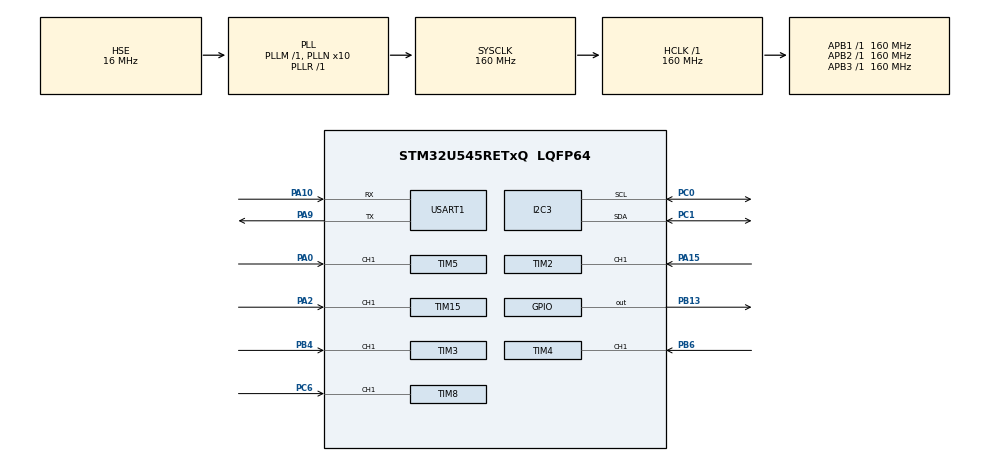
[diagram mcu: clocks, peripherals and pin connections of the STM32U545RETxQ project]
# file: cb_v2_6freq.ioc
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CORTEX_M33_NS.userName=CORTEX_M33
GPDMA1.CIRCULARMODE_GPDMACH0=ENABLE
GPDMA1.CIRCULARMODE_GPDMACH1=ENABLE
GPDMA1.CIRCULARMODE_GPDMACH2=ENABLE
GPDMA1.CIRCULARMODE_GPDMACH3=ENABLE
GPDMA1.CIRCULARMODE_GPDMACH4=ENABLE
GPDMA1.CIRCULARMODE_GPDMACH5=ENABLE
GPDMA1.DESTDATAWIDTH_GPDMACH0=DMA_DEST_DATAWIDTH_HALFWORD
GPDMA1.DESTDATAWIDTH_GPDMACH1=DMA_DEST_DATAWIDTH_HALFWORD
GPDMA1.DESTDATAWIDTH_GPDMACH2=DMA_DEST_DATAWIDTH_HALFWORD
GPDMA1.DESTDATAWIDTH_GPDMACH3=DMA_DEST_DATAWIDTH_HALFWORD
GPDMA1.DESTDATAWIDTH_GPDMACH4=DMA_DEST_DATAWIDTH_HALFWORD
GPDMA1.DESTDATAWIDTH_GPDMACH5=DMA_DEST_DATAWIDTH_HALFWORD
GPDMA1.DESTINC_GPDMACH0=DMA_DINC_INCREMENTED
GPDMA1.DESTINC_GPDMACH1=DMA_DINC_INCREMENTED
GPDMA1.DESTINC_GPDMACH2=DMA_DINC_INCREMENTED
GPDMA1.DESTINC_GPDMACH3=DMA_DINC_INCREMENTED
GPDMA1.DESTINC_GPDMACH4=DMA_DINC_INCREMENTED
GPDMA1.DESTINC_GPDMACH5=DMA_DINC_INCREMENTED
GPDMA1.IPHANDLE_GPDMACH0-SIMPLEREQUEST_GPDMACH0=__NULL
GPDMA1.IPHANDLE_GPDMACH1-SIMPLEREQUEST_GPDMACH1=__NULL
GPDMA1.IPHANDLE_GPDMACH2-SIMPLEREQUEST_GPDMACH2=__NULL
GPDMA1.IPHANDLE_GPDMACH3-SIMPLEREQUEST_GPDMACH3=__NULL
GPDMA1.IPHANDLE_GPDMACH4-SIMPLEREQUEST_GPDMACH4=__NULL
GPDMA1.IPHANDLE_GPDMACH5-SIMPLEREQUEST_GPDMACH5=__NULL
GPDMA1.REQUEST_GPDMACH0=GPDMA1_REQUEST_TIM3_CH1
GPDMA1.REQUEST_GPDMACH1=GPDMA1_REQUEST_TIM4_CH1
GPDMA1.REQUEST_GPDMACH2=GPDMA1_REQUEST_TIM2_CH1
GPDMA1.REQUEST_GPDMACH3=GPDMA1_REQUEST_TIM5_CH1
GPDMA1.REQUEST_GPDMACH4=GPDMA1_REQUEST_TIM8_CH1
GPDMA1.REQUEST_GPDMACH5=GPDMA1_REQUEST_TIM15_CH1
GPDMA1.SRCDATAWIDTH_GPDMACH0=DMA_SRC_DATAWIDTH_HALFWORD
GPDMA1.SRCDATAWIDTH_GPDMACH1=DMA_SRC_DATAWIDTH_HALFWORD
GPDMA1.SRCDATAWIDTH_GPDMACH2=DMA_SRC_DATAWIDTH_HALFWORD
GPDMA1.SRCDATAWIDTH_GPDMACH3=DMA_SRC_DATAWIDTH_HALFWORD
GPDMA1.SRCDATAWIDTH_GPDMACH4=DMA_SRC_DATAWIDTH_HALFWORD
GPDMA1.SRCDATAWIDTH_GPDMACH5=DMA_SRC_DATAWIDTH_HALFWORD
I2C3.Timing=0x30909DEC
Mcu.Family=STM32U5
Mcu.Name=STM32U545RETxQ
Mcu.Package=LQFP64
NVIC.GPDMA1_Channel0_IRQn=true\:0\:0\:false\:false\:true\:false\:true\:true
NVIC.GPDMA1_Channel1_IRQn=true\:0\:0\:false\:false\:true\:false\:true\:true
NVIC.GPDMA1_Channel2_IRQn=true\:0\:0\:false\:false\:true\:false\:true\:true
NVIC.GPDMA1_Channel3_IRQn=true\:0\:0\:false\:false\:true\:false\:true\:true
NVIC.GPDMA1_Channel4_IRQn=true\:0\:0\:false\:false\:true\:false\:true\:true
NVIC.GPDMA1_Channel5_IRQn=true\:0\:0\:false\:false\:true\:false\:true\:true
NVIC.PriorityGroup=NVIC_PRIORITYGROUP_4
PA0.Signal=S_TIM5_CH1
PA10.Mode=Asynchronous
PA10.Signal=USART1_RX
PA13\ (JTMS/SWDIO).Mode=Trace_Asynchronous_SW
PA13\ (JTMS/SWDIO).Signal=DEBUG_JTMS-SWDIO
PA14\ (JTCK/SWCLK).Mode=Trace_Asynchronous_SW
PA14\ (JTCK/SWCLK).Signal=DEBUG_JTCK-SWCLK
PA15\ (JTDI).Signal=S_TIM2_CH1
PA2.Signal=S_TIM15_CH1
PA9.Mode=Asynchronous
PA9.Signal=USART1_TX
PB13.PinState=GPIO_PIN_SET
PB13.Signal=GPIO_Output
PB3\ (JTDO/TRACESWO).Mode=Trace_Asynchronous_SW
PB3\ (JTDO/TRACESWO).Signal=DEBUG_JTDO-SWO
PB4\ (NJTRST).Signal=S_TIM3_CH1
PB6.Signal=S_TIM4_CH1
PC0.Mode=I2C
PC0.Signal=I2C3_SCL
PC1.Mode=I2C
PC1.Signal=I2C3_SDA
PC6.Signal=S_TIM8_CH1
PH0-OSC_IN\ (PH0).Mode=HSE-External-Oscillator
PH0-OSC_IN\ (PH0).Signal=RCC_OSC_IN
PH1-OSC_OUT\ (PH1).Mode=HSE-External-Oscillator
PH1-OSC_OUT\ (PH1).Signal=RCC_OSC_OUT
ProjectManager.HeapSize=0x200
ProjectManager.StackSize=0x400
ProjectManager.TargetToolchain=STM32CubeIDE
RCC.ADCFreq_Value=16000000
RCC.AHBFreq_Value=160000000
RCC.APB1Freq_Value=160000000
RCC.APB1TimFreq_Value=160000000
RCC.APB2Freq_Value=160000000
RCC.APB2TimFreq_Value=160000000
RCC.APB3Freq_Value=160000000
RCC.CortexFreq_Value=160000000
RCC.DACCLockSelectionVirtual=RCC_DAC1CLKSOURCE_LSI
RCC.DACCLockSelectionVirtualString=RCC_DAC1CLKSOURCE_LSI
RCC.EPOD_VALUE=16000000
RCC.HCLKFreq_Value=160000000
RCC.HSE_VALUE=16000000
RCC.HSI48_VALUE=48000000
RCC.HSI_VALUE=16000000
RCC.LSE_VALUE=32768
RCC.LSIDIV_VALUE=32000
RCC.MSI_VALUE=4000000
RCC.PLL1R=1
RCC.PLLFRACN=0
RCC.PLLN=10
RCC.PLLSourceVirtual=RCC_PLLSOURCE_HSE
RCC.SYSCLKFreq_VALUE=160000000
RCC.SYSCLKSource=RCC_SYSCLKSOURCE_PLLCLK
RCC.USBFreq_Value=48000000
RCC.VCOOutputFreq_Value=160000000
SH.S_TIM15_CH1.0=TIM15_CH1,TriggerSource_TI1FP1
SH.S_TIM15_CH1.1=TIM15_CH1,Input_Capture1_from_TI1
SH.S_TIM2_CH1.0=TIM2_CH1,Input_Capture1_from_TI1
SH.S_TIM2_CH1.1=TIM2_CH1,TriggerSource_TI1FP1
SH.S_TIM3_CH1.0=TIM3_CH1,Input_Capture1_from_TI1
SH.S_TIM3_CH1.1=TIM3_CH1,TriggerSource_TI1FP1
SH.S_TIM4_CH1.0=TIM4_CH1,TriggerSource_TI1FP1
SH.S_TIM4_CH1.1=TIM4_CH1,Input_Capture1_from_TI1
SH.S_TIM5_CH1.0=TIM5_CH1,TriggerSource_TI1FP1
SH.S_TIM5_CH1.1=TIM5_CH1,Input_Capture1_from_TI1
SH.S_TIM8_CH1.0=TIM8_CH1,TriggerSource_TI1FP1
SH.S_TIM8_CH1.1=TIM8_CH1,Input_Capture1_from_TI1
TIM15.Channel-Input_Capture1_from_TI1=TIM_CHANNEL_1
TIM2.Channel-Input_Capture1_from_TI1=TIM_CHANNEL_1
TIM3.Channel-Input_Capture1_from_TI1=TIM_CHANNEL_1
TIM4.Channel-Input_Capture1_from_TI1=TIM_CHANNEL_1
TIM5.Channel-Input_Capture1_from_TI1=TIM_CHANNEL_1
TIM8.Channel-Input_Capture1_from_TI1=TIM_CHANNEL_1
USART1.VirtualMode-Asynchronous=VM_ASYNC
VP_GPDMA1_VS_GPDMACH0.Mode=SIMPLEREQUEST_GPDMACH0
VP_GPDMA1_VS_GPDMACH1.Mode=SIMPLEREQUEST_GPDMACH1
VP_GPDMA1_VS_GPDMACH2.Mode=SIMPLEREQUEST_GPDMACH2
VP_GPDMA1_VS_GPDMACH3.Mode=SIMPLEREQUEST_GPDMACH3
VP_GPDMA1_VS_GPDMACH4.Mode=SIMPLEREQUEST_GPDMACH4
VP_GPDMA1_VS_GPDMACH5.Mode=SIMPLEREQUEST_GPDMACH5
VP_LPBAMQUEUE_VS_QUEUE.Mode=QUEUEMODE
VP_LPBAM_VS_SIG1.Mode=SmartRun
VP_LPBAM_VS_SIG4.Mode=LPDMA1
VP_MEMORYMAP_VS_MEMORYMAP.Mode=CurAppReg
VP_PWR_VS_SECSignals.Mode=Security/Privilege
VP_TIM15_VS_ClockSourceINT.Mode=Internal
VP_TIM15_VS_ControllerModeReset.Mode=Reset Mode
VP_TIM2_VS_ClockSourceINT.Mode=Internal
VP_TIM2_VS_ControllerModeReset.Mode=Reset Mode
VP_TIM3_VS_ClockSourceINT.Mode=Internal
VP_TIM3_VS_ControllerModeReset.Mode=Reset Mode
VP_TIM4_VS_ClockSourceINT.Mode=Internal
VP_TIM4_VS_ControllerModeReset.Mode=Reset Mode
VP_TIM5_VS_ClockSourceINT.Mode=Internal
VP_TIM5_VS_ControllerModeReset.Mode=Reset Mode
VP_TIM8_VS_ClockSourceINT.Mode=Internal
VP_TIM8_VS_ControllerModeReset.Mode=Reset Mode
board=custom

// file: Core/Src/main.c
/* USER CODE BEGIN Header */
/**
  ******************************************************************************
  * @file           : main.c
  * @brief          : Main program body
  ******************************************************************************
  * @attention
  *
  * Copyright (c) 2025 STMicroelectronics.
  * All rights reserved.
  *
  * This software is licensed under terms that can be found in the LICENSE file
  * in the root directory of this software component.
  * If no LICENSE file comes with this software, it is provided AS-IS.
  *
  ******************************************************************************
  */
/* USER CODE END Header */
#include "main.h"

/* USER CODE BEGIN Includes */
#include<stdio.h>
#include<string.h>
/* USER CODE END Includes */

I2C_HandleTypeDef hi2c3;

TIM_HandleTypeDef htim2;
TIM_HandleTypeDef htim3;
TIM_HandleTypeDef htim4;
TIM_HandleTypeDef htim5;
TIM_HandleTypeDef htim8;
TIM_HandleTypeDef htim15;
DMA_NodeTypeDef Node_GPDMA1_Channel2;
DMA_QListTypeDef List_GPDMA1_Channel2;
DMA_HandleTypeDef handle_GPDMA1_Channel2;
DMA_NodeTypeDef Node_GPDMA1_Channel0;
DMA_QListTypeDef List_GPDMA1_Channel0;
DMA_HandleTypeDef handle_GPDMA1_Channel0;
DMA_NodeTypeDef Node_GPDMA1_Channel1;
DMA_QListTypeDef List_GPDMA1_Channel1;
DMA_HandleTypeDef handle_GPDMA1_Channel1;
DMA_NodeTypeDef Node_GPDMA1_Channel3;
DMA_QListTypeDef List_GPDMA1_Channel3;
DMA_HandleTypeDef handle_GPDMA1_Channel3;
DMA_NodeTypeDef Node_GPDMA1_Channel4;
DMA_QListTypeDef List_GPDMA1_Channel4;
DMA_HandleTypeDef handle_GPDMA1_Channel4;
DMA_NodeTypeDef Node_GPDMA1_Channel5;
DMA_QListTypeDef List_GPDMA1_Channel5;
DMA_HandleTypeDef handle_GPDMA1_Channel5;

UART_HandleTypeDef huart1;

/* USER CODE BEGIN PV */
uint16_t Channels[6][8] = {0};  // 2D array to hold all channel data
uint8_t txBuffer[15];           // Buffer to hold the data to be sent
/* USER CODE END PV */

void SystemClock_Config(void);
static void MX_GPIO_Init(void);
static void MX_GPDMA1_Init(void);
static void MX_TIM3_Init(void);
static void MX_TIM4_Init(void);
static void MX_USART1_UART_Init(void);
static void MX_I2C3_Init(void);
static void MX_TIM2_Init(void);
static void MX_TIM5_Init(void);
static void MX_TIM8_Init(void);
static void MX_TIM15_Init(void);

/* USER CODE BEGIN 0 */
void sendCapacitanceData() {
    // Access the first value of each channel
    uint16_t values[6] = {
        Channels[0][0],  // First value of Channel_0
        Channels[1][0],  // First value of Channel_1
        Channels[2][0],  // First value of Channel_2
        Channels[3][0],  // First value of Channel_3
        Channels[4][0],  // First value of Channel_4
        Channels[5][0]   // First value of Channel_5
    };

    // Debug: Print the values before sending
    printf("Sending: %d, %d, %d, %d, %d, %d\n",
           values[0], values[1], values[2],
           values[3], values[4], values[5]);

    txBuffer[0] = 0xAA;  // Start byte

    // Copy uint16_t values into the buffer as uint8_t bytes
    for (int i = 0; i < 6; i++) {
        txBuffer[1 + 2 * i] = (values[i] >> 8) & 0xFF;  // High byte
        txBuffer[2 + 2 * i] = values[i] & 0xFF;         // Low byte
    }

    txBuffer[13] = 0x55;  // End byte
    txBuffer[14] = 0x00;  // Optional: Checksum (e.g., XOR of all data bytes)

    // Send the data over UART
    HAL_UART_Transmit(&huart1, txBuffer, sizeof(txBuffer), HAL_MAX_DELAY);
}

void process_channel(uint16_t *channel_data, const char *name) {
#define TIMER_CLK_HZ 160000000
    if (channel_data[0] == 0) {
        printf("%s: Frequency = 0.00 Hz , Count = 0 , Capacitance = 0pF\n\r", name);
    } else {
        float period_seconds = channel_data[0] * (1.0 / TIMER_CLK_HZ);
        float frequency = (1.0 / period_seconds);
        //printf("%s: Frequency = %f , Count = %d\n\r", name, frequency, channel_data[0]);

        double cx = ((1 / (0.64 * frequency * 200000)) - 60.60E-12) * 1e12;
        printf("%s: Capacitance = %.2f pF\n\r", name, cx);
    }
    memset(channel_data, 0, sizeof(uint16_t) * 8);
}
/* USER CODE END 0 */

int main(void)
{

  /* MCU Configuration--------------------------------------------------------*/

  /* Reset of all peripherals, Initializes the Flash interface and the Systick. */
  HAL_Init();

  /* Configure the system clock */
  SystemClock_Config();

  /* Initialize all configured peripherals */
  MX_GPIO_Init();
  MX_GPDMA1_Init();
  MX_TIM3_Init();
  MX_TIM4_Init();
  MX_USART1_UART_Init();
  MX_I2C3_Init();
  MX_TIM2_Init();
  MX_TIM5_Init();
  MX_TIM8_Init();
  MX_TIM15_Init();
  /* USER CODE BEGIN 2 */

#define TIMER_CLK_HZ 160000000

uint16_t Channel_0[8] = {0};
uint16_t Channel_1[8] = {0};
uint16_t Channel_3[8] = {0};
uint16_t Channel_4[8] = {0};
uint16_t Channel_5[8] = {0};
uint16_t Channel_6[8] = {0};

uint16_t* channels[] = {Channel_0, Channel_1, Channel_3, Channel_4, Channel_5, Channel_6};
const char* channel_names[] = {"Channel_0", "Channel_1", "Channel_3", "Channel_4", "Channel_5", "Channel_6"};

if (HAL_TIM_Base_Start(&htim2) != HAL_OK){

	  Error_Handler();
}

if (HAL_TIM_Base_Start(&htim3) != HAL_OK){

	  Error_Handler();
}

if (HAL_TIM_Base_Start(&htim4) != HAL_OK){

	  Error_Handler();
}

if (HAL_TIM_Base_Start(&htim5) != HAL_OK){

	  Error_Handler();
}

if (HAL_TIM_Base_Start(&htim8) != HAL_OK){

	  Error_Handler();
}

if (HAL_TIM_Base_Start(&htim15) != HAL_OK){

	  Error_Handler();
}

HAL_TIM_IC_Start_DMA(&htim2, TIM_CHANNEL_1,(uint32_t*)&Channel_0, 8);
HAL_TIM_IC_Start_DMA(&htim3, TIM_CHANNEL_1,(uint32_t*)&Channel_1, 8);
HAL_TIM_IC_Start_DMA(&htim4, TIM_CHANNEL_1,(uint32_t*)&Channel_3, 8);
HAL_TIM_IC_Start_DMA(&htim5, TIM_CHANNEL_1,(uint32_t*)&Channel_4, 8);
HAL_TIM_IC_Start_DMA(&htim8, TIM_CHANNEL_1,(uint32_t*)&Channel_5, 8);
HAL_TIM_IC_Start_DMA(&htim15, TIM_CHANNEL_1,(uint32_t*)&Channel_6, 8);

  /* USER CODE END 2 */

  /* Infinite loop */
  while (1)
  {

    /* USER CODE BEGIN 3 */

	  //sendCapacitanceData();
	  for (int i = 0; i < 6; i++) {
	       process_channel(channels[i], channel_names[i]);
	    }
	  printf("\n\r");

	  HAL_Delay(100);

	 // HAL_Delay(250);

  }
  /* USER CODE END 3 */
}

void SystemClock_Config(void)
{
  RCC_OscInitTypeDef RCC_OscInitStruct = {0};
  RCC_ClkInitTypeDef RCC_ClkInitStruct = {0};

  /** Configure the main internal regulator output voltage
  */
  if (HAL_PWREx_ControlVoltageScaling(PWR_REGULATOR_VOLTAGE_SCALE1) != HAL_OK)
  {
    Error_Handler();
  }

  /** Initializes the CPU, AHB and APB buses clocks
  */
  RCC_OscInitStruct.OscillatorType = RCC_OSCILLATORTYPE_HSE;
  RCC_OscInitStruct.HSEState = RCC_HSE_ON;
  RCC_OscInitStruct.PLL.PLLState = RCC_PLL_ON;
  RCC_OscInitStruct.PLL.PLLSource = RCC_PLLSOURCE_HSE;
  RCC_OscInitStruct.PLL.PLLMBOOST = RCC_PLLMBOOST_DIV1;
  RCC_OscInitStruct.PLL.PLLM = 1;
  RCC_OscInitStruct.PLL.PLLN = 10;
  RCC_OscInitStruct.PLL.PLLP = 2;
  RCC_OscInitStruct.PLL.PLLQ = 2;
  RCC_OscInitStruct.PLL.PLLR = 1;
  RCC_OscInitStruct.PLL.PLLRGE = RCC_PLLVCIRANGE_1;
  RCC_OscInitStruct.PLL.PLLFRACN = 0;
  if (HAL_RCC_OscConfig(&RCC_OscInitStruct) != HAL_OK)
  {
    Error_Handler();
  }

  /** Initializes the CPU, AHB and APB buses clocks
  */
  RCC_ClkInitStruct.ClockType = RCC_CLOCKTYPE_HCLK|RCC_CLOCKTYPE_SYSCLK
                              |RCC_CLOCKTYPE_PCLK1|RCC_CLOCKTYPE_PCLK2
                              |RCC_CLOCKTYPE_PCLK3;
  RCC_ClkInitStruct.SYSCLKSource = RCC_SYSCLKSOURCE_PLLCLK;
  RCC_ClkInitStruct.AHBCLKDivider = RCC_SYSCLK_DIV1;
  RCC_ClkInitStruct.APB1CLKDivider = RCC_HCLK_DIV1;
  RCC_ClkInitStruct.APB2CLKDivider = RCC_HCLK_DIV1;
  RCC_ClkInitStruct.APB3CLKDivider = RCC_HCLK_DIV1;

  if (HAL_RCC_ClockConfig(&RCC_ClkInitStruct, FLASH_LATENCY_4) != HAL_OK)
  {
    Error_Handler();
  }
}

static void MX_GPDMA1_Init(void)
{

  /* Peripheral clock enable */
  __HAL_RCC_GPDMA1_CLK_ENABLE();

  /* GPDMA1 interrupt Init */
    HAL_NVIC_SetPriority(GPDMA1_Channel0_IRQn, 0, 0);
    HAL_NVIC_EnableIRQ(GPDMA1_Channel0_IRQn);
    HAL_NVIC_SetPriority(GPDMA1_Channel1_IRQn, 0, 0);
    HAL_NVIC_EnableIRQ(GPDMA1_Channel1_IRQn);
    HAL_NVIC_SetPriority(GPDMA1_Channel2_IRQn, 0, 0);
    HAL_NVIC_EnableIRQ(GPDMA1_Channel2_IRQn);
    HAL_NVIC_SetPriority(GPDMA1_Channel3_IRQn, 0, 0);
    HAL_NVIC_EnableIRQ(GPDMA1_Channel3_IRQn);
    HAL_NVIC_SetPriority(GPDMA1_Channel4_IRQn, 0, 0);
    HAL_NVIC_EnableIRQ(GPDMA1_Channel4_IRQn);
    HAL_NVIC_SetPriority(GPDMA1_Channel5_IRQn, 0, 0);
    HAL_NVIC_EnableIRQ(GPDMA1_Channel5_IRQn);

}

static void MX_I2C3_Init(void)
{

  hi2c3.Instance = I2C3;
  hi2c3.Init.Timing = 0x30909DEC;
  hi2c3.Init.OwnAddress1 = 0;
  hi2c3.Init.AddressingMode = I2C_ADDRESSINGMODE_7BIT;
  hi2c3.Init.DualAddressMode = I2C_DUALADDRESS_DISABLE;
  hi2c3.Init.OwnAddress2 = 0;
  hi2c3.Init.OwnAddress2Masks = I2C_OA2_NOMASK;
  hi2c3.Init.GeneralCallMode = I2C_GENERALCALL_DISABLE;
  hi2c3.Init.NoStretchMode = I2C_NOSTRETCH_DISABLE;
  if (HAL_I2C_Init(&hi2c3) != HAL_OK)
  {
    Error_Handler();
  }

  /** Configure Analogue filter
  */
  if (HAL_I2CEx_ConfigAnalogFilter(&hi2c3, I2C_ANALOGFILTER_ENABLE) != HAL_OK)
  {
    Error_Handler();
  }

  /** Configure Digital filter
  */
  if (HAL_I2CEx_ConfigDigitalFilter(&hi2c3, 0) != HAL_OK)
  {
    Error_Handler();
  }

}

static void MX_TIM2_Init(void)
{

  TIM_ClockConfigTypeDef sClockSourceConfig = {0};
  TIM_SlaveConfigTypeDef sSlaveConfig = {0};
  TIM_MasterConfigTypeDef sMasterConfig = {0};
  TIM_IC_InitTypeDef sConfigIC = {0};

  htim2.Instance = TIM2;
  htim2.Init.Prescaler = 0;
  htim2.Init.CounterMode = TIM_COUNTERMODE_UP;
  htim2.Init.Period = 4294967295;
  htim2.Init.ClockDivision = TIM_CLOCKDIVISION_DIV1;
  htim2.Init.AutoReloadPreload = TIM_AUTORELOAD_PRELOAD_DISABLE;
  if (HAL_TIM_Base_Init(&htim2) != HAL_OK)
  {
    Error_Handler();
  }
  sClockSourceConfig.ClockSource = TIM_CLOCKSOURCE_INTERNAL;
  if (HAL_TIM_ConfigClockSource(&htim2, &sClockSourceConfig) != HAL_OK)
  {
    Error_Handler();
  }
  if (HAL_TIM_IC_Init(&htim2) != HAL_OK)
  {
    Error_Handler();
  }
  sSlaveConfig.SlaveMode = TIM_SLAVEMODE_RESET;
  sSlaveConfig.InputTrigger = TIM_TS_TI1FP1;
  sSlaveConfig.TriggerPolarity = TIM_INPUTCHANNELPOLARITY_RISING;
  sSlaveConfig.TriggerFilter = 0;
  if (HAL_TIM_SlaveConfigSynchro(&htim2, &sSlaveConfig) != HAL_OK)
  {
    Error_Handler();
  }
  sMasterConfig.MasterOutputTrigger = TIM_TRGO_RESET;
  sMasterConfig.MasterSlaveMode = TIM_MASTERSLAVEMODE_DISABLE;
  if (HAL_TIMEx_MasterConfigSynchronization(&htim2, &sMasterConfig) != HAL_OK)
  {
    Error_Handler();
  }
  sConfigIC.ICPolarity = TIM_INPUTCHANNELPOLARITY_RISING;
  sConfigIC.ICSelection = TIM_ICSELECTION_DIRECTTI;
  sConfigIC.ICPrescaler = TIM_ICPSC_DIV1;
  sConfigIC.ICFilter = 0;
  if (HAL_TIM_IC_ConfigChannel(&htim2, &sConfigIC, TIM_CHANNEL_1) != HAL_OK)
  {
    Error_Handler();
  }

}

static void MX_TIM3_Init(void)
{

  TIM_ClockConfigTypeDef sClockSourceConfig = {0};
  TIM_SlaveConfigTypeDef sSlaveConfig = {0};
  TIM_MasterConfigTypeDef sMasterConfig = {0};
  TIM_IC_InitTypeDef sConfigIC = {0};

  htim3.Instance = TIM3;
  htim3.Init.Prescaler = 0;
  htim3.Init.CounterMode = TIM_COUNTERMODE_UP;
  htim3.Init.Period = 4294967295;
  htim3.Init.ClockDivision = TIM_CLOCKDIVISION_DIV1;
  htim3.Init.AutoReloadPreload = TIM_AUTORELOAD_PRELOAD_DISABLE;
  if (HAL_TIM_Base_Init(&htim3) != HAL_OK)
  {
    Error_Handler();
  }
  sClockSourceConfig.ClockSource = TIM_CLOCKSOURCE_INTERNAL;
  if (HAL_TIM_ConfigClockSource(&htim3, &sClockSourceConfig) != HAL_OK)
  {
    Error_Handler();
  }
  if (HAL_TIM_IC_Init(&htim3) != HAL_OK)
  {
    Error_Handler();
  }
  sSlaveConfig.SlaveMode = TIM_SLAVEMODE_RESET;
  sSlaveConfig.InputTrigger = TIM_TS_TI1FP1;
  sSlaveConfig.TriggerPolarity = TIM_INPUTCHANNELPOLARITY_RISING;
  sSlaveConfig.TriggerFilter = 0;
  if (HAL_TIM_SlaveConfigSynchro(&htim3, &sSlaveConfig) != HAL_OK)
  {
    Error_Handler();
  }
  sMasterConfig.MasterOutputTrigger = TIM_TRGO_RESET;
  sMasterConfig.MasterSlaveMode = TIM_MASTERSLAVEMODE_DISABLE;
  if (HAL_TIMEx_MasterConfigSynchronization(&htim3, &sMasterConfig) != HAL_OK)
  {
    Error_Handler();
  }
  sConfigIC.ICPolarity = TIM_INPUTCHANNELPOLARITY_RISING;
  sConfigIC.ICSelection = TIM_ICSELECTION_DIRECTTI;
  sConfigIC.ICPrescaler = TIM_ICPSC_DIV1;
  sConfigIC.ICFilter = 0;
  if (HAL_TIM_IC_ConfigChannel(&htim3, &sConfigIC, TIM_CHANNEL_1) != HAL_OK)
  {
    Error_Handler();
  }

}

static void MX_TIM4_Init(void)
{

  TIM_ClockConfigTypeDef sClockSourceConfig = {0};
  TIM_SlaveConfigTypeDef sSlaveConfig = {0};
  TIM_MasterConfigTypeDef sMasterConfig = {0};
  TIM_IC_InitTypeDef sConfigIC = {0};

  htim4.Instance = TIM4;
  htim4.Init.Prescaler = 0;
  htim4.Init.CounterMode = TIM_COUNTERMODE_UP;
  htim4.Init.Period = 4294967295;
  htim4.Init.ClockDivision = TIM_CLOCKDIVISION_DIV1;
  htim4.Init.AutoReloadPreload = TIM_AUTORELOAD_PRELOAD_DISABLE;
  if (HAL_TIM_Base_Init(&htim4) != HAL_OK)
  {
    Error_Handler();
  }
  sClockSourceConfig.ClockSource = TIM_CLOCKSOURCE_INTERNAL;
  if (HAL_TIM_ConfigClockSource(&htim4, &sClockSourceConfig) != HAL_OK)
  {
    Error_Handler();
  }
  if (HAL_TIM_IC_Init(&htim4) != HAL_OK)
  {
    Error_Handler();
  }
  sSlaveConfig.SlaveMode = TIM_SLAVEMODE_RESET;
  sSlaveConfig.InputTrigger = TIM_TS_TI1FP1;
  sSlaveConfig.TriggerPolarity = TIM_INPUTCHANNELPOLARITY_RISING;
  sSlaveConfig.TriggerFilter = 0;
  if (HAL_TIM_SlaveConfigSynchro(&htim4, &sSlaveConfig) != HAL_OK)
  {
    Error_Handler();
  }
  sMasterConfig.MasterOutputTrigger = TIM_TRGO_RESET;
  sMasterConfig.MasterSlaveMode = TIM_MASTERSLAVEMODE_DISABLE;
  if (HAL_TIMEx_MasterConfigSynchronization(&htim4, &sMasterConfig) != HAL_OK)
  {
    Error_Handler();
  }
  sConfigIC.ICPolarity = TIM_INPUTCHANNELPOLARITY_RISING;
  sConfigIC.ICSelection = TIM_ICSELECTION_DIRECTTI;
  sConfigIC.ICPrescaler = TIM_ICPSC_DIV1;
  sConfigIC.ICFilter = 0;
  if (HAL_TIM_IC_ConfigChannel(&htim4, &sConfigIC, TIM_CHANNEL_1) != HAL_OK)
  {
    Error_Handler();
  }

}

static void MX_TIM5_Init(void)
{

  TIM_ClockConfigTypeDef sClockSourceConfig = {0};
  TIM_SlaveConfigTypeDef sSlaveConfig = {0};
  TIM_MasterConfigTypeDef sMasterConfig = {0};
  TIM_IC_InitTypeDef sConfigIC = {0};

  htim5.Instance = TIM5;
  htim5.Init.Prescaler = 0;
  htim5.Init.CounterMode = TIM_COUNTERMODE_UP;
  htim5.Init.Period = 4294967295;
  htim5.Init.ClockDivision = TIM_CLOCKDIVISION_DIV1;
  htim5.Init.AutoReloadPreload = TIM_AUTORELOAD_PRELOAD_DISABLE;
  if (HAL_TIM_Base_Init(&htim5) != HAL_OK)
  {
    Error_Handler();
  }
  sClockSourceConfig.ClockSource = TIM_CLOCKSOURCE_INTERNAL;
  if (HAL_TIM_ConfigClockSource(&htim5, &sClockSourceConfig) != HAL_OK)
  {
    Error_Handler();
  }
  if (HAL_TIM_IC_Init(&htim5) != HAL_OK)
  {
    Error_Handler();
  }
  sSlaveConfig.SlaveMode = TIM_SLAVEMODE_RESET;
  sSlaveConfig.InputTrigger = TIM_TS_TI1FP1;
  sSlaveConfig.TriggerPolarity = TIM_INPUTCHANNELPOLARITY_RISING;
  sSlaveConfig.TriggerFilter = 0;
  if (HAL_TIM_SlaveConfigSynchro(&htim5, &sSlaveConfig) != HAL_OK)
  {
    Error_Handler();
  }
  sMasterConfig.MasterOutputTrigger = TIM_TRGO_RESET;
  sMasterConfig.MasterSlaveMode = TIM_MASTERSLAVEMODE_DISABLE;
  if (HAL_TIMEx_MasterConfigSynchronization(&htim5, &sMasterConfig) != HAL_OK)
  {
    Error_Handler();
  }
  sConfigIC.ICPolarity = TIM_INPUTCHANNELPOLARITY_RISING;
  sConfigIC.ICSelection = TIM_ICSELECTION_DIRECTTI;
  sConfigIC.ICPrescaler = TIM_ICPSC_DIV1;
  sConfigIC.ICFilter = 0;
  if (HAL_TIM_IC_ConfigChannel(&htim5, &sConfigIC, TIM_CHANNEL_1) != HAL_OK)
  {
    Error_Handler();
  }

}

static void MX_TIM8_Init(void)
{

  TIM_ClockConfigTypeDef sClockSourceConfig = {0};
  TIM_SlaveConfigTypeDef sSlaveConfig = {0};
  TIM_MasterConfigTypeDef sMasterConfig = {0};
  TIM_IC_InitTypeDef sConfigIC = {0};

  htim8.Instance = TIM8;
  htim8.Init.Prescaler = 0;
  htim8.Init.CounterMode = TIM_COUNTERMODE_UP;
  htim8.Init.Period = 65535;
  htim8.Init.ClockDivision = TIM_CLOCKDIVISION_DIV1;
  htim8.Init.RepetitionCounter = 0;
  htim8.Init.AutoReloadPreload = TIM_AUTORELOAD_PRELOAD_DISABLE;
  if (HAL_TIM_Base_Init(&htim8) != HAL_OK)
  {
    Error_Handler();
  }
  sClockSourceConfig.ClockSource = TIM_CLOCKSOURCE_INTERNAL;
  if (HAL_TIM_ConfigClockSource(&htim8, &sClockSourceConfig) != HAL_OK)
  {
    Error_Handler();
  }
  if (HAL_TIM_IC_Init(&htim8) != HAL_OK)
  {
    Error_Handler();
  }
  sSlaveConfig.SlaveMode = TIM_SLAVEMODE_RESET;
  sSlaveConfig.InputTrigger = TIM_TS_TI1FP1;
  sSlaveConfig.TriggerPolarity = TIM_INPUTCHANNELPOLARITY_RISING;
  sSlaveConfig.TriggerFilter = 0;
  if (HAL_TIM_SlaveConfigSynchro(&htim8, &sSlaveConfig) != HAL_OK)
  {
    Error_Handler();
  }
  sMasterConfig.MasterOutputTrigger = TIM_TRGO_RESET;
  sMasterConfig.MasterOutputTrigger2 = TIM_TRGO2_RESET;
  sMasterConfig.MasterSlaveMode = TIM_MASTERSLAVEMODE_DISABLE;
  if (HAL_TIMEx_MasterConfigSynchronization(&htim8, &sMasterConfig) != HAL_OK)
  {
    Error_Handler();
  }
  sConfigIC.ICPolarity = TIM_INPUTCHANNELPOLARITY_RISING;
  sConfigIC.ICSelection = TIM_ICSELECTION_DIRECTTI;
  sConfigIC.ICPrescaler = TIM_ICPSC_DIV1;
  sConfigIC.ICFilter = 0;
  if (HAL_TIM_IC_ConfigChannel(&htim8, &sConfigIC, TIM_CHANNEL_1) != HAL_OK)
  {
    Error_Handler();
  }

}

static void MX_TIM15_Init(void)
{

  TIM_ClockConfigTypeDef sClockSourceConfig = {0};
  TIM_SlaveConfigTypeDef sSlaveConfig = {0};
  TIM_MasterConfigTypeDef sMasterConfig = {0};
  TIM_IC_InitTypeDef sConfigIC = {0};

  htim15.Instance = TIM15;
  htim15.Init.Prescaler = 0;
  htim15.Init.CounterMode = TIM_COUNTERMODE_UP;
  htim15.Init.Period = 65535;
  htim15.Init.ClockDivision = TIM_CLOCKDIVISION_DIV1;
  htim15.Init.RepetitionCounter = 0;
  htim15.Init.AutoReloadPreload = TIM_AUTORELOAD_PRELOAD_DISABLE;
  if (HAL_TIM_Base_Init(&htim15) != HAL_OK)
  {
    Error_Handler();
  }
  sClockSourceConfig.ClockSource = TIM_CLOCKSOURCE_INTERNAL;
  if (HAL_TIM_ConfigClockSource(&htim15, &sClockSourceConfig) != HAL_OK)
  {
    Error_Handler();
  }
  if (HAL_TIM_IC_Init(&htim15) != HAL_OK)
  {
    Error_Handler();
  }
  sSlaveConfig.SlaveMode = TIM_SLAVEMODE_RESET;
  sSlaveConfig.InputTrigger = TIM_TS_TI1FP1;
  sSlaveConfig.TriggerPolarity = TIM_INPUTCHANNELPOLARITY_RISING;
  sSlaveConfig.TriggerFilter = 0;
  if (HAL_TIM_SlaveConfigSynchro(&htim15, &sSlaveConfig) != HAL_OK)
  {
    Error_Handler();
  }
  sMasterConfig.MasterOutputTrigger = TIM_TRGO_RESET;
  sMasterConfig.MasterSlaveMode = TIM_MASTERSLAVEMODE_DISABLE;
  if (HAL_TIMEx_MasterConfigSynchronization(&htim15, &sMasterConfig) != HAL_OK)
  {
    Error_Handler();
  }
  sConfigIC.ICPolarity = TIM_INPUTCHANNELPOLARITY_RISING;
  sConfigIC.ICSelection = TIM_ICSELECTION_DIRECTTI;
  sConfigIC.ICPrescaler = TIM_ICPSC_DIV1;
  sConfigIC.ICFilter = 0;
  if (HAL_TIM_IC_ConfigChannel(&htim15, &sConfigIC, TIM_CHANNEL_1) != HAL_OK)
  {
    Error_Handler();
  }

}

static void MX_USART1_UART_Init(void)
{

  huart1.Instance = USART1;
  huart1.Init.BaudRate = 115200;
  huart1.Init.WordLength = UART_WORDLENGTH_8B;
  huart1.Init.StopBits = UART_STOPBITS_1;
  huart1.Init.Parity = UART_PARITY_NONE;
  huart1.Init.Mode = UART_MODE_TX_RX;
  huart1.Init.HwFlowCtl = UART_HWCONTROL_NONE;
  huart1.Init.OverSampling = UART_OVERSAMPLING_16;
  huart1.Init.OneBitSampling = UART_ONE_BIT_SAMPLE_DISABLE;
  huart1.Init.ClockPrescaler = UART_PRESCALER_DIV1;
  huart1.AdvancedInit.AdvFeatureInit = UART_ADVFEATURE_NO_INIT;
  if (HAL_UART_Init(&huart1) != HAL_OK)
  {
    Error_Handler();
  }
  if (HAL_UARTEx_SetTxFifoThreshold(&huart1, UART_TXFIFO_THRESHOLD_1_8) != HAL_OK)
  {
    Error_Handler();
  }
  if (HAL_UARTEx_SetRxFifoThreshold(&huart1, UART_RXFIFO_THRESHOLD_1_8) != HAL_OK)
  {
    Error_Handler();
  }
  if (HAL_UARTEx_DisableFifoMode(&huart1) != HAL_OK)
  {
    Error_Handler();
  }

}

static void MX_GPIO_Init(void)
{
  GPIO_InitTypeDef GPIO_InitStruct = {0};

  /* GPIO Ports Clock Enable */
  __HAL_RCC_GPIOH_CLK_ENABLE();
  __HAL_RCC_GPIOC_CLK_ENABLE();
  __HAL_RCC_GPIOA_CLK_ENABLE();
  __HAL_RCC_GPIOB_CLK_ENABLE();

  /*Configure GPIO pin Output Level */
  HAL_GPIO_WritePin(GPIOB, GPIO_PIN_13, GPIO_PIN_SET);

  /*Configure GPIO pin : PB13 */
  GPIO_InitStruct.Pin = GPIO_PIN_13;
  GPIO_InitStruct.Mode = GPIO_MODE_OUTPUT_PP;
  GPIO_InitStruct.Pull = GPIO_NOPULL;
  GPIO_InitStruct.Speed = GPIO_SPEED_FREQ_LOW;
  HAL_GPIO_Init(GPIOB, &GPIO_InitStruct);

}

/* USER CODE BEGIN 4 */
int _write(int file, char *ptr, int len)
{
  (void)file;
  int DataIdx;

  for (DataIdx = 0; DataIdx < len; DataIdx++)
  {

    ITM_SendChar(*ptr++);

  }
  return len;
}

/* USER CODE END 4 */

void Error_Handler(void)
{
  /* USER CODE BEGIN Error_Handler_Debug */
  /* User can add his own implementation to report the HAL error return state */
  __disable_irq();
  while (1)
  {
	    HAL_GPIO_TogglePin (GPIOB, GPIO_PIN_13);
	    HAL_Delay (200);
  }
  /* USER CODE END Error_Handler_Debug */
}
